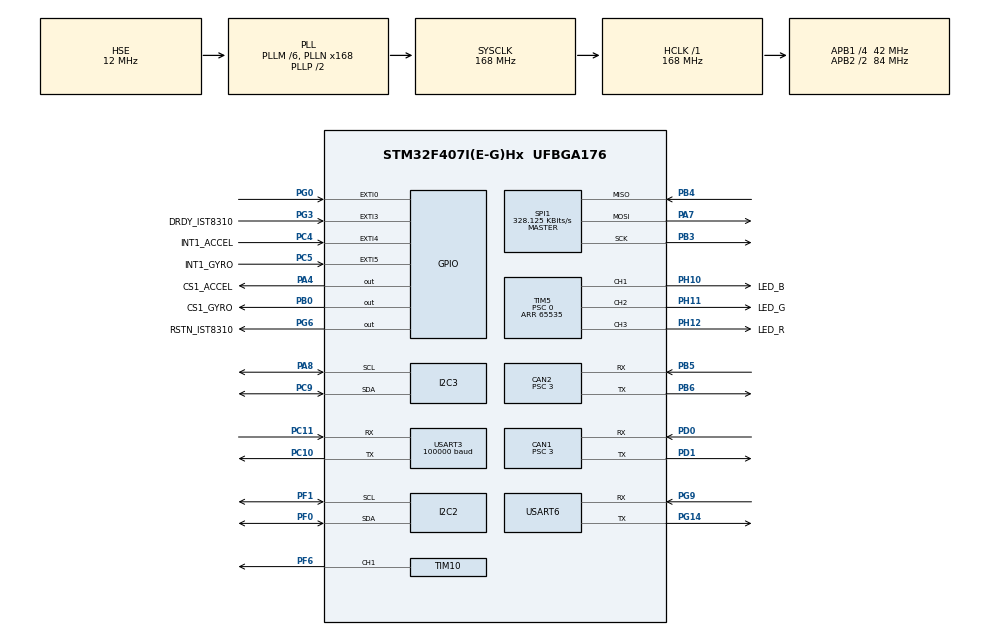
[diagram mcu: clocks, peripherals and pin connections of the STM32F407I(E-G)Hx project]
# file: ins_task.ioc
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CAN1.BS1=CAN_BS1_10TQ
CAN1.BS2=CAN_BS2_3TQ
CAN1.CalculateBaudRate=1000000
CAN1.CalculateTimeBit=1000
CAN1.CalculateTimeQuantum=71.42857142857143
CAN1.Prescaler=3
CAN2.BS1=CAN_BS1_10TQ
CAN2.BS2=CAN_BS2_3TQ
CAN2.CalculateBaudRate=1000000
CAN2.CalculateTimeBit=1000
CAN2.CalculateTimeQuantum=71.42857142857143
CAN2.Prescaler=3
Dma.Request0=SPI1_RX
Dma.Request1=SPI1_TX
Dma.Request2=USART6_RX
Dma.Request3=USART6_TX
Dma.Request4=USART3_RX
Dma.SPI1_RX.0.Direction=DMA_PERIPH_TO_MEMORY
Dma.SPI1_RX.0.FIFOMode=DMA_FIFOMODE_DISABLE
Dma.SPI1_RX.0.Instance=DMA2_Stream2
Dma.SPI1_RX.0.MemDataAlignment=DMA_MDATAALIGN_BYTE
Dma.SPI1_RX.0.MemInc=DMA_MINC_ENABLE
Dma.SPI1_RX.0.Mode=DMA_NORMAL
Dma.SPI1_RX.0.PeriphDataAlignment=DMA_PDATAALIGN_BYTE
Dma.SPI1_RX.0.PeriphInc=DMA_PINC_DISABLE
Dma.SPI1_RX.0.Priority=DMA_PRIORITY_VERY_HIGH
Dma.SPI1_TX.1.Direction=DMA_MEMORY_TO_PERIPH
Dma.SPI1_TX.1.FIFOMode=DMA_FIFOMODE_DISABLE
Dma.SPI1_TX.1.Instance=DMA2_Stream3
Dma.SPI1_TX.1.MemDataAlignment=DMA_MDATAALIGN_BYTE
Dma.SPI1_TX.1.MemInc=DMA_MINC_ENABLE
Dma.SPI1_TX.1.Mode=DMA_NORMAL
Dma.SPI1_TX.1.PeriphDataAlignment=DMA_PDATAALIGN_BYTE
Dma.SPI1_TX.1.PeriphInc=DMA_PINC_DISABLE
Dma.SPI1_TX.1.Priority=DMA_PRIORITY_HIGH
Dma.USART3_RX.4.Direction=DMA_PERIPH_TO_MEMORY
Dma.USART3_RX.4.FIFOMode=DMA_FIFOMODE_DISABLE
Dma.USART3_RX.4.Instance=DMA1_Stream1
Dma.USART3_RX.4.MemDataAlignment=DMA_MDATAALIGN_BYTE
Dma.USART3_RX.4.MemInc=DMA_MINC_ENABLE
Dma.USART3_RX.4.Mode=DMA_CIRCULAR
Dma.USART3_RX.4.PeriphDataAlignment=DMA_PDATAALIGN_BYTE
Dma.USART3_RX.4.PeriphInc=DMA_PINC_DISABLE
Dma.USART3_RX.4.Priority=DMA_PRIORITY_VERY_HIGH
Dma.USART6_RX.2.Direction=DMA_PERIPH_TO_MEMORY
Dma.USART6_RX.2.FIFOMode=DMA_FIFOMODE_DISABLE
Dma.USART6_RX.2.Instance=DMA2_Stream1
Dma.USART6_RX.2.MemDataAlignment=DMA_MDATAALIGN_BYTE
Dma.USART6_RX.2.MemInc=DMA_MINC_ENABLE
Dma.USART6_RX.2.Mode=DMA_NORMAL
Dma.USART6_RX.2.PeriphDataAlignment=DMA_PDATAALIGN_BYTE
Dma.USART6_RX.2.PeriphInc=DMA_PINC_DISABLE
Dma.USART6_RX.2.Priority=DMA_PRIORITY_LOW
Dma.USART6_TX.3.Direction=DMA_MEMORY_TO_PERIPH
Dma.USART6_TX.3.FIFOMode=DMA_FIFOMODE_DISABLE
Dma.USART6_TX.3.Instance=DMA2_Stream6
Dma.USART6_TX.3.MemDataAlignment=DMA_MDATAALIGN_BYTE
Dma.USART6_TX.3.MemInc=DMA_MINC_ENABLE
Dma.USART6_TX.3.Mode=DMA_NORMAL
Dma.USART6_TX.3.PeriphDataAlignment=DMA_PDATAALIGN_BYTE
Dma.USART6_TX.3.PeriphInc=DMA_PINC_DISABLE
Dma.USART6_TX.3.Priority=DMA_PRIORITY_LOW
FREERTOS.INCLUDE_eTaskGetState=1
FREERTOS.INCLUDE_pcTaskGetTaskName=1
FREERTOS.INCLUDE_uxTaskGetStackHighWaterMark=1
FREERTOS.INCLUDE_vTaskCleanUpResources=1
FREERTOS.INCLUDE_vTaskDelayUntil=1
FREERTOS.INCLUDE_xEventGroupSetBitFromISR=1
FREERTOS.INCLUDE_xQueueGetMutexHolder=1
FREERTOS.INCLUDE_xSemaphoreGetMutexHolder=1
FREERTOS.INCLUDE_xTaskAbortDelay=1
FREERTOS.INCLUDE_xTaskGetCurrentTaskHandle=1
FREERTOS.INCLUDE_xTaskGetHandle=1
FREERTOS.INCLUDE_xTimerPendFunctionCall=1
FREERTOS.Tasks01=test,24,128,test_task,As weak,NULL,Dynamic,NULL,NULL
FREERTOS.configTOTAL_HEAP_SIZE=24576
I2C2.I2C_Mode=I2C_Fast
I2C3.I2C_Mode=I2C_Fast
Mcu.Family=STM32F4
Mcu.Name=STM32F407I(E-G)Hx
Mcu.Package=UFBGA176
NVIC.CAN1_RX0_IRQn=true\:5\:0\:false\:false\:true\:true\:true\:true\:true
NVIC.CAN2_RX0_IRQn=true\:5\:0\:false\:false\:true\:true\:true\:true\:true
NVIC.DMA1_Stream1_IRQn=true\:5\:0\:false\:false\:true\:true\:false\:true\:true
NVIC.DMA2_Stream1_IRQn=true\:5\:0\:false\:false\:true\:true\:false\:true\:true
NVIC.DMA2_Stream2_IRQn=true\:5\:0\:true\:false\:false\:true\:false\:true\:true
NVIC.DMA2_Stream3_IRQn=true\:5\:0\:true\:false\:false\:true\:false\:true\:true
NVIC.DMA2_Stream6_IRQn=true\:5\:0\:false\:false\:true\:true\:false\:true\:true
NVIC.EXTI0_IRQn=true\:6\:0\:true\:false\:true\:true\:true\:true\:true
NVIC.EXTI3_IRQn=true\:5\:0\:true\:false\:true\:true\:true\:true\:true
NVIC.EXTI4_IRQn=true\:5\:0\:true\:false\:true\:true\:true\:true\:true
NVIC.EXTI9_5_IRQn=true\:5\:0\:true\:false\:true\:true\:true\:true\:true
NVIC.PriorityGroup=NVIC_PRIORITYGROUP_4
NVIC.USART3_IRQn=true\:5\:0\:false\:false\:true\:true\:true\:true\:true
NVIC.USART6_IRQn=true\:5\:0\:false\:false\:true\:true\:true\:true\:true
PA13.Mode=Serial_Wire
PA13.Signal=SYS_JTMS-SWDIO
PA14.Mode=Serial_Wire
PA14.Signal=SYS_JTCK-SWCLK
PA4.GPIO_Label=CS1_ACCEL
PA4.GPIO_PuPd=GPIO_PULLUP
PA4.GPIO_Speed=GPIO_SPEED_FREQ_HIGH
PA4.PinState=GPIO_PIN_SET
PA4.Signal=GPIO_Output
PA7.GPIO_PuPd=GPIO_PULLUP
PA7.Mode=Full_Duplex_Master
PA7.Signal=SPI1_MOSI
PA8.GPIO_Pu=GPIO_PULLUP
PA8.Mode=I2C
PA8.Signal=I2C3_SCL
PB0.GPIO_Label=CS1_GYRO
PB0.GPIO_PuPd=GPIO_PULLUP
PB0.GPIO_Speed=GPIO_SPEED_FREQ_HIGH
PB0.PinState=GPIO_PIN_SET
PB0.Signal=GPIO_Output
PB3.GPIO_PuPd=GPIO_PULLUP
PB3.Mode=Full_Duplex_Master
PB3.Signal=SPI1_SCK
PB4.GPIO_PuPd=GPIO_PULLUP
PB4.Mode=Full_Duplex_Master
PB4.Signal=SPI1_MISO
PB5.Mode=CAN_Activate
PB5.Signal=CAN2_RX
PB6.Mode=CAN_Activate
PB6.Signal=CAN2_TX
PC10.Mode=Asynchronous
PC10.Signal=USART3_TX
PC11.Mode=Asynchronous
PC11.Signal=USART3_RX
PC4.GPIO_Label=INT1_ACCEL
PC4.GPIO_ModeDefaultEXTI=GPIO_MODE_IT_FALLING
PC4.GPIO_PuPd=GPIO_PULLUP
PC4.Signal=GPXTI4
PC5.GPIO_Label=INT1_GYRO
PC5.GPIO_ModeDefaultEXTI=GPIO_MODE_IT_FALLING
PC5.GPIO_PuPd=GPIO_PULLUP
PC5.Signal=GPXTI5
PC9.GPIO_Pu=GPIO_PULLUP
PC9.Mode=I2C
PC9.Signal=I2C3_SDA
PD0.Mode=CAN_Activate
PD0.Signal=CAN1_RX
PD1.Mode=CAN_Activate
PD1.Signal=CAN1_TX
PF0.Mode=I2C
PF0.Signal=I2C2_SDA
PF1.Mode=I2C
PF1.Signal=I2C2_SCL
PF6.GPIO_PuPd=GPIO_PULLUP
PF6.GPIO_Speed=GPIO_SPEED_FREQ_HIGH
PF6.Signal=S_TIM10_CH1
PG0.GPIO_ModeDefaultEXTI=GPIO_MODE_IT_FALLING
PG0.GPIO_PuPd=GPIO_PULLUP
PG0.Signal=GPXTI0
PG14.Mode=Asynchronous
PG14.Signal=USART6_TX
PG3.GPIO_Label=DRDY_IST8310
PG3.GPIO_ModeDefaultEXTI=GPIO_MODE_IT_FALLING
PG3.GPIO_PuPd=GPIO_PULLUP
PG3.Signal=GPXTI3
PG6.GPIO_Label=RSTN_IST8310
PG6.GPIO_PuPd=GPIO_PULLUP
PG6.GPIO_Speed=GPIO_SPEED_FREQ_MEDIUM
PG6.PinState=GPIO_PIN_SET
PG6.Signal=GPIO_Output
PG9.Mode=Asynchronous
PG9.Signal=USART6_RX
PH0-OSC_IN.Mode=HSE-External-Oscillator
PH0-OSC_IN.Signal=RCC_OSC_IN
PH1-OSC_OUT.Mode=HSE-External-Oscillator
PH1-OSC_OUT.Signal=RCC_OSC_OUT
PH10.GPIO_Label=LED_B
PH10.GPIO_PuPd=GPIO_PULLUP
PH10.GPIO_Speed=GPIO_SPEED_FREQ_HIGH
PH10.Signal=S_TIM5_CH1
PH11.GPIO_Label=LED_G
PH11.GPIO_PuPd=GPIO_PULLUP
PH11.GPIO_Speed=GPIO_SPEED_FREQ_HIGH
PH11.Signal=S_TIM5_CH2
PH12.GPIO_Label=LED_R
PH12.GPIO_PuPd=GPIO_PULLUP
PH12.GPIO_Speed=GPIO_SPEED_FREQ_HIGH
PH12.Signal=S_TIM5_CH3
ProjectManager.HeapSize=0x2000
ProjectManager.StackSize=0x2000
ProjectManager.TargetToolchain=CMake
RCC.48MHZClocksFreq_Value=48000000
RCC.AHBFreq_Value=168000000
RCC.APB1CLKDivider=RCC_HCLK_DIV4
RCC.APB1Freq_Value=42000000
RCC.APB1TimFreq_Value=84000000
RCC.APB2CLKDivider=RCC_HCLK_DIV2
RCC.APB2Freq_Value=84000000
RCC.APB2TimFreq_Value=168000000
RCC.CortexFreq_Value=168000000
RCC.HCLKFreq_Value=168000000
RCC.HSE_VALUE=12000000
RCC.HSI_VALUE=16000000
RCC.LSE_VALUE=32768
RCC.PLLM=6
RCC.PLLN=168
RCC.PLLQ=7
RCC.PLLSourceVirtual=RCC_PLLSOURCE_HSE
RCC.RCC_RTC_Clock_SourceVirtual=RCC_RTCCLKSOURCE_HSE_DIV30
RCC.RCC_RTC_Clock_Source_FROM_HSE=RCC_RTCCLKSOURCE_HSE_DIV30
RCC.SYSCLKFreq_VALUE=168000000
RCC.SYSCLKSource=RCC_SYSCLKSOURCE_PLLCLK
RCC.VCOOutputFreq_Value=336000000
SH.S_TIM10_CH1.0=TIM10_CH1,PWM Generation1 CH1
SH.S_TIM5_CH1.0=TIM5_CH1,PWM Generation1 CH1
SH.S_TIM5_CH2.0=TIM5_CH2,PWM Generation2 CH2
SH.S_TIM5_CH3.0=TIM5_CH3,PWM Generation3 CH3
SPI1.BaudRatePrescaler=SPI_BAUDRATEPRESCALER_256
SPI1.CLKPhase=SPI_PHASE_2EDGE
SPI1.CLKPolarity=SPI_POLARITY_HIGH
SPI1.CalculateBaudRate=328.125 KBits/s
SPI1.Direction=SPI_DIRECTION_2LINES
SPI1.Mode=SPI_MODE_MASTER
SPI1.VirtualType=VM_MASTER
TIM10.Channel=TIM_CHANNEL_1
TIM10.Period=4999
TIM5.Channel-PWM\ Generation1\ CH1=TIM_CHANNEL_1
TIM5.Channel-PWM\ Generation2\ CH2=TIM_CHANNEL_2
TIM5.Channel-PWM\ Generation3\ CH3=TIM_CHANNEL_3
TIM5.Period=65535
TIM5.Prescaler=0
USART3.BaudRate=100000
USART3.Mode=MODE_RX
USART3.Parity=PARITY_EVEN
USART3.VirtualMode=VM_ASYNC
USART6.VirtualMode=VM_ASYNC
VP_FREERTOS_VS_CMSIS_V1.Mode=CMSIS_V1
VP_TIM10_VS_ClockSourceINT.Mode=Enable_Timer
VP_TIM5_VS_ClockSourceINT.Mode=Internal
board=custom

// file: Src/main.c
/* USER CODE BEGIN Header */
/**
  ******************************************************************************
  * @file           : main.c
  * @brief          : Main program body
  ******************************************************************************
  * @attention
  *
  * <h2><center>&copy; Copyright (c) 2019 STMicroelectronics.
  * All rights reserved.</center></h2>
  *
  * This software component is licensed by ST under Ultimate Liberty license
  * SLA0044, the "License"; You may not use this file except in compliance with
  * the License. You may obtain a copy of the License at:
  *                             www.st.com/SLA0044
  *
  ******************************************************************************
  */
/* USER CODE END Header */
#include "main.h"
#include "cmsis_os.h"
#include "can.h"
#include "dma.h"
#include "i2c.h"
#include "spi.h"
#include "tim.h"
#include "usart.h"
#include "gpio.h"

/* USER CODE BEGIN Includes */
#include "bsp_delay.h"
#include "../Inc/all_tou_h.h"
#include "remote_control.h"
/* USER CODE END Includes */

void SystemClock_Config(void);
void MX_FREERTOS_Init(void);

int main(void)
{

  /* MCU Configuration--------------------------------------------------------*/

  /* Reset of all peripherals, Initializes the Flash interface and the Systick. */
  HAL_Init();

  /* Configure the system clock */
  SystemClock_Config();

  /* Initialize all configured peripherals */
  MX_GPIO_Init();
  MX_DMA_Init();
  MX_SPI1_Init();
  MX_TIM5_Init();
  MX_I2C3_Init();
  MX_TIM10_Init();
  MX_USART6_UART_Init();
  MX_CAN1_Init();
  MX_CAN2_Init();
  MX_I2C2_Init();
  MX_USART3_UART_Init();
  /* USER CODE BEGIN 2 */
  remote_control_init();
  can_filter_init();
    delay_init();
  /* USER CODE END 2 */

  /* Call init function for freertos objects (in cmsis_os2.c) */
  MX_FREERTOS_Init();

  /* Start scheduler */
  osKernelStart();

  /* We should never get here as control is now taken by the scheduler */

  /* Infinite loop */
  while (1)
  {

  }
}

void SystemClock_Config(void)
{
  RCC_OscInitTypeDef RCC_OscInitStruct = {0};
  RCC_ClkInitTypeDef RCC_ClkInitStruct = {0};

  /** Configure the main internal regulator output voltage
  */
  __HAL_RCC_PWR_CLK_ENABLE();
  __HAL_PWR_VOLTAGESCALING_CONFIG(PWR_REGULATOR_VOLTAGE_SCALE1);

  /** Initializes the RCC Oscillators according to the specified parameters
  * in the RCC_OscInitTypeDef structure.
  */
  RCC_OscInitStruct.OscillatorType = RCC_OSCILLATORTYPE_HSE;
  RCC_OscInitStruct.HSEState = RCC_HSE_ON;
  RCC_OscInitStruct.PLL.PLLState = RCC_PLL_ON;
  RCC_OscInitStruct.PLL.PLLSource = RCC_PLLSOURCE_HSE;
  RCC_OscInitStruct.PLL.PLLM = 6;
  RCC_OscInitStruct.PLL.PLLN = 168;
  RCC_OscInitStruct.PLL.PLLP = RCC_PLLP_DIV2;
  RCC_OscInitStruct.PLL.PLLQ = 7;
  if (HAL_RCC_OscConfig(&RCC_OscInitStruct) != HAL_OK)
  {
    Error_Handler();
  }

  /** Initializes the CPU, AHB and APB buses clocks
  */
  RCC_ClkInitStruct.ClockType = RCC_CLOCKTYPE_HCLK|RCC_CLOCKTYPE_SYSCLK
                              |RCC_CLOCKTYPE_PCLK1|RCC_CLOCKTYPE_PCLK2;
  RCC_ClkInitStruct.SYSCLKSource = RCC_SYSCLKSOURCE_PLLCLK;
  RCC_ClkInitStruct.AHBCLKDivider = RCC_SYSCLK_DIV1;
  RCC_ClkInitStruct.APB1CLKDivider = RCC_HCLK_DIV4;
  RCC_ClkInitStruct.APB2CLKDivider = RCC_HCLK_DIV2;

  if (HAL_RCC_ClockConfig(&RCC_ClkInitStruct, FLASH_LATENCY_5) != HAL_OK)
  {
    Error_Handler();
  }
}

void Error_Handler(void)
{
}

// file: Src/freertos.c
/* USER CODE BEGIN Header */
/**
  ******************************************************************************
  * File Name          : freertos.c
  * Description        : Code for freertos applications
  ******************************************************************************
  * @attention
  *
  * <h2><center>&copy; Copyright (c) 2019 STMicroelectronics.
  * All rights reserved.</center></h2>
  *
  * This software component is licensed by ST under Ultimate Liberty license
  * SLA0044, the "License"; You may not use this file except in compliance with
  * the License. You may obtain a copy of the License at:
  *                             www.st.com/SLA0044
  *
  ******************************************************************************
  */
/* USER CODE END Header */

#include "FreeRTOS.h"
#include "task.h"
#include "main.h"
#include "cmsis_os.h"

/* USER CODE BEGIN Includes */

#include "chassis_task.h"
#include "INS_task.h"
#include "bmi088_date_send.h"
#include "gimbal_i6x_date.h"
#include "gimbal_imu_date.h"

/* USER CODE END Includes */

/* USER CODE BEGIN PTD */

osThreadId imuTaskHandle;
osThreadId led_RGB_flow_handle;

osThreadId send_taskHandle;
osThreadId chassisTaskHandle;
osThreadId GimbalI6xDateTaskHandle;
osThreadId gimbalImuDateTaskHandle;
/* USER CODE END PTD */

osThreadId testHandle;

void test_task(void const * argument);

void MX_FREERTOS_Init(void); /* (MISRA C 2004 rule 8.1) */

/* GetIdleTaskMemory prototype (linked to static allocation support) */
void vApplicationGetIdleTaskMemory( StaticTask_t **ppxIdleTaskTCBBuffer, StackType_t **ppxIdleTaskStackBuffer, uint32_t *pulIdleTaskStackSize );

/* GetTimerTaskMemory prototype (linked to static allocation support) */
void vApplicationGetTimerTaskMemory( StaticTask_t **ppxTimerTaskTCBBuffer, StackType_t **ppxTimerTaskStackBuffer, uint32_t *pulTimerTaskStackSize );

/* USER CODE BEGIN GET_IDLE_TASK_MEMORY */
static StaticTask_t xIdleTaskTCBBuffer;
static StackType_t xIdleStack[configMINIMAL_STACK_SIZE];

void vApplicationGetIdleTaskMemory( StaticTask_t **ppxIdleTaskTCBBuffer, StackType_t **ppxIdleTaskStackBuffer, uint32_t *pulIdleTaskStackSize )
{
  *ppxIdleTaskTCBBuffer = &xIdleTaskTCBBuffer;
  *ppxIdleTaskStackBuffer = &xIdleStack[0];
  *pulIdleTaskStackSize = configMINIMAL_STACK_SIZE;
  /* place for user code */
}
/* USER CODE END GET_IDLE_TASK_MEMORY */

/* USER CODE BEGIN GET_TIMER_TASK_MEMORY */
static StaticTask_t xTimerTaskTCBBuffer;
static StackType_t xTimerStack[configTIMER_TASK_STACK_DEPTH];

void vApplicationGetTimerTaskMemory( StaticTask_t **ppxTimerTaskTCBBuffer, StackType_t **ppxTimerTaskStackBuffer, uint32_t *pulTimerTaskStackSize )
{
  *ppxTimerTaskTCBBuffer = &xTimerTaskTCBBuffer;
  *ppxTimerTaskStackBuffer = &xTimerStack[0];
  *pulTimerTaskStackSize = configTIMER_TASK_STACK_DEPTH;
  /* place for user code */
}
/* USER CODE END GET_TIMER_TASK_MEMORY */

void MX_FREERTOS_Init(void) {

  /* Create the thread(s) */
  /* definition and creation of test */
  // osThreadDef(test, test_task, osPriorityNormal, 0, 128);
  // testHandle = osThreadCreate(osThread(test), NULL);

  /* USER CODE BEGIN RTOS_THREADS */
  /* add threads, ... */
  osThreadDef(imuTask, INS_task, osPriorityRealtime, 0, 1024);
  imuTaskHandle = osThreadCreate(osThread(imuTask), NULL);
    //
    // osThreadDef(led, led_RGB_flow_task, osPriorityNormal, 0, 256);
    // led_RGB_flow_handle = osThreadCreate(osThread(led), NULL);

  // osThreadDef(GimbalTask,gimbal_task, osPriorityNormal, 0, 256);
  // gimbalTaskHandle = osThreadCreate(osThread(GimbalTask), NULL);

  osThreadDef(ChassisTask, chassis_task, osPriorityNormal, 0, 1024);
  chassisTaskHandle = osThreadCreate(osThread(ChassisTask), NULL);

  osThreadDef(sendTask, imu_date_send_task, osPriorityNormal, 0, 512);
  send_taskHandle = osThreadCreate(osThread(sendTask), NULL);

  // osThreadDef(gimbalImuDateTask,gimbal_receive_task, osPriorityNormal, 0, 512);
  // gimbalImuDateTaskHandle = osThreadCreate(osThread(gimbalImuDateTask), NULL);

  // osThreadDef(GimbalI6xDateTask,ix6_CanDate_task, osPriorityNormal, 0, 512);
  // GimbalI6xDateTaskHandle = osThreadCreate(osThread(GimbalI6xDateTask), NULL);

  /* USER CODE END RTOS_THREADS */

}

__weak void test_task(void const * argument)
{
  for(;;)
  {
    osDelay(1);
  }
}
